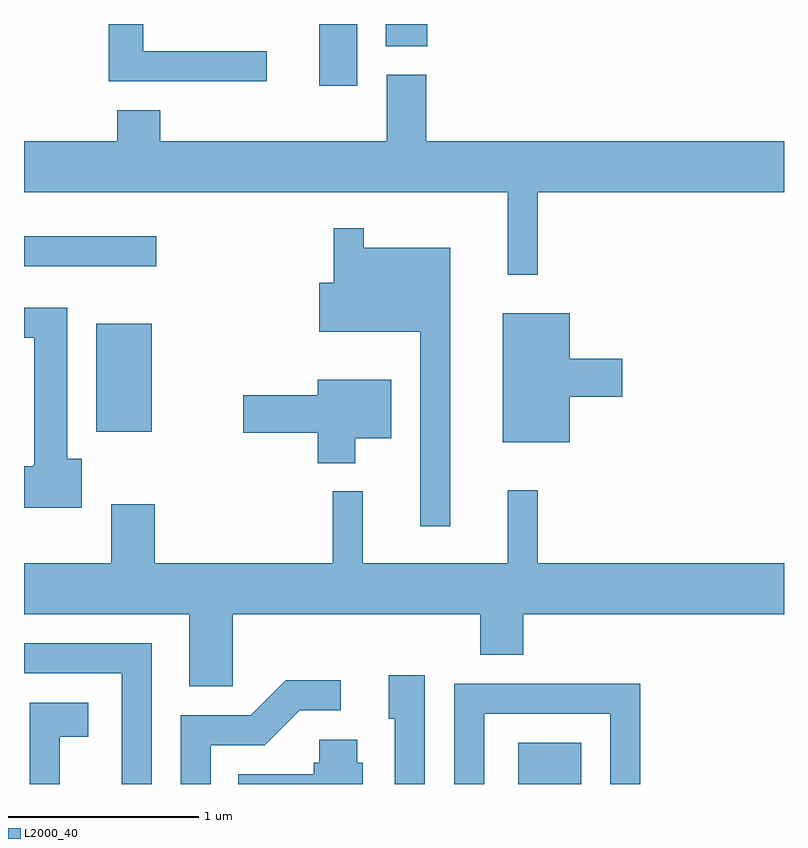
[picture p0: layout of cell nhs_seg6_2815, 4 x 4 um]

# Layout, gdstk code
import gdstk
lib = gdstk.Library(unit=1e-6, precision=1e-09)
def R(c, l, rs):  # rectangles x0, y0, x1, y1
    for r in rs: c.add(gdstk.rectangle(r[:2], r[2:], *l))
def P(c, l, *ps):  # polygons
    for p in ps: c.add(gdstk.Polygon(p, *l))
L2000_40 = (2000, 40)

nhs_seg6_2815 = lib.new_cell('nhs_seg6_2815')
R(nhs_seg6_2815, L2000_40, [(272.211,1640.162,272.544,1640.379), (269.991,1642.016,270.284,1642.584), (269.611,1642.886,270.308,1643.044), (271.166,1643.836,271.364,1644.162), (271.516,1644.046,271.734,1644.162)])
P(nhs_seg6_2815, L2000_40, [(270.888,1644.019),(270.239,1644.019),(270.239,1644.162),(270.056,1644.162),(270.056,1643.861),(270.888,1643.861)],
  [(272.314,1643.276),(273.611,1643.276),(273.611,1643.544),(271.729,1643.544),(271.729,1643.894),(271.521,1643.894),(271.521,1643.544),(270.329,1643.544),(270.329,1643.709),(270.101,1643.709),(270.101,1643.544),(269.611,1643.544),(269.611,1643.276),(272.156,1643.276),(272.156,1642.843),(272.314,1642.843)],
  [(271.854,1642.984),(271.399,1642.984),(271.399,1643.088),(271.241,1643.088),(271.241,1642.799),(271.166,1642.799),(271.166,1642.541),(271.696,1642.541),(271.696,1641.518),(271.854,1641.518)],
  [(269.914,1641.874),(269.839,1641.874),(269.839,1642.669),(269.611,1642.669),(269.611,1642.511),(269.666,1642.511),(269.666,1641.84),(269.66,1641.84),(269.66,1641.834),(269.611,1641.834),(269.611,1641.616),(269.914,1641.616)],
  [(272.484,1642.201),(272.759,1642.201),(272.759,1642.399),(272.484,1642.399),(272.484,1642.639),(272.131,1642.639),(272.131,1641.961),(272.484,1641.961)],
  [(271.354,1641.981),(271.544,1641.981),(271.544,1642.289),(271.156,1642.289),(271.156,1642.209),(270.766,1642.209),(270.766,1642.011),(271.156,1642.011),(271.156,1641.851),(271.354,1641.851)],
  [(270.709,1641.056),(272.011,1641.056),(272.011,1640.841),(272.239,1640.841),(272.239,1641.056),(273.611,1641.056),(273.611,1641.324),(272.314,1641.324),(272.314,1641.708),(272.156,1641.708),(272.156,1641.324),(271.394,1641.324),(271.394,1641.703),(271.236,1641.703),(271.236,1641.324),(270.299,1641.324),(270.299,1641.634),(270.071,1641.634),(270.071,1641.324),(269.611,1641.324),(269.611,1641.056),(270.481,1641.056),(270.481,1640.676),(270.709,1640.676)],
  [(270.284,1640.904),(269.611,1640.904),(269.611,1640.746),(270.126,1640.746),(270.126,1640.162),(270.284,1640.162)],
  [(271.719,1640.734),(271.531,1640.734),(271.531,1640.506),(271.561,1640.506),(271.561,1640.162),(271.719,1640.162)],
  [(270.594,1640.366),(270.877,1640.366),(271.062,1640.551),(271.278,1640.551),(271.278,1640.709),(270.989,1640.709),(270.804,1640.524),(270.436,1640.524),(270.436,1640.162),(270.594,1640.162)],
  [(272.034,1640.531),(272.696,1640.531),(272.696,1640.162),(272.854,1640.162),(272.854,1640.689),(271.876,1640.689),(271.876,1640.162),(272.034,1640.162)],
  [(269.799,1640.411),(269.949,1640.411),(269.949,1640.589),(269.641,1640.589),(269.641,1640.162),(269.799,1640.162)],
  [(271.394,1640.274),(271.364,1640.274),(271.364,1640.394),(271.166,1640.394),(271.166,1640.274),(271.136,1640.274),(271.136,1640.214),(270.738,1640.214),(270.738,1640.162),(271.394,1640.162)])

lib.write_gds('nhs_seg6_2815.gds')
